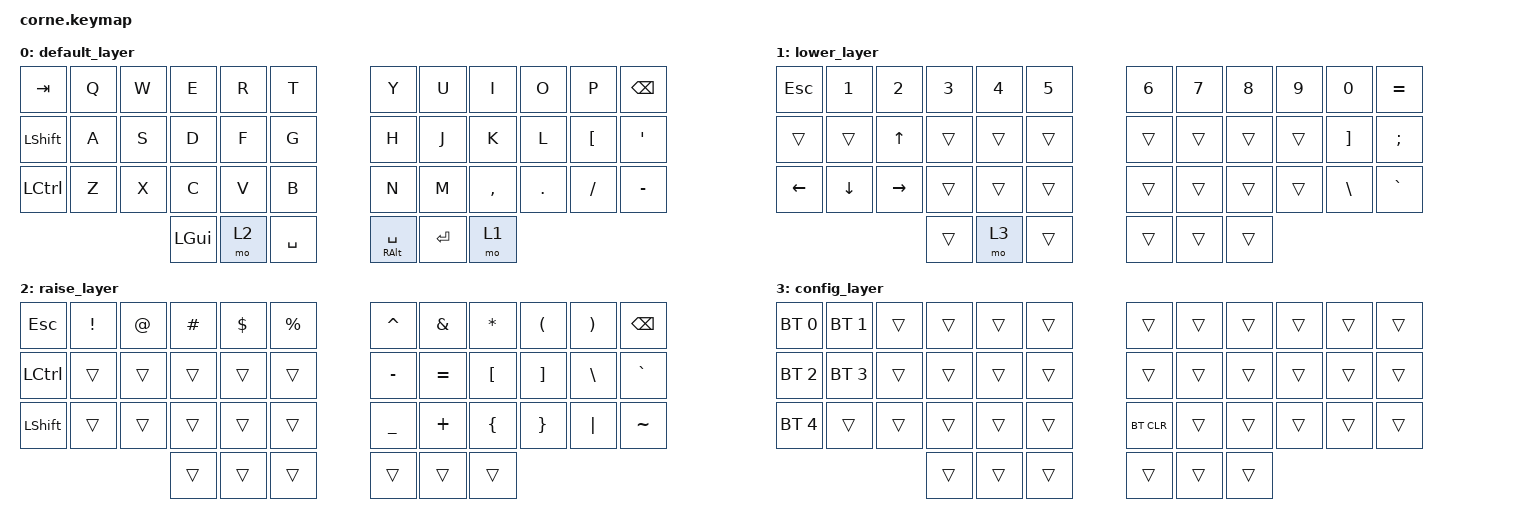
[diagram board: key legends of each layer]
/*
* Copyright (c) 2020 The ZMK Contributors
*
* SPDX-License-Identifier: MIT
*/

#include <behaviors.dtsi>
#include <dt-bindings/zmk/keys.h>
#include <dt-bindings/zmk/bt.h>

/ {
behaviors {
pht: positional_hold_tap {
compatible = "zmk,behavior-hold-tap";
#binding-cells = <2>;
flavor = "hold-preferred";
tapping-term-ms = <400>;
quick-tap-ms = <200>;
bindings = <&kp>, <&kp>;
hold-trigger-key-positions = <1>;    // <---[[the W key]]
};
};

keymap {
compatible = "zmk,keymap";

default_layer {
// -----------------------------------------------------------------------------------------
// |  TAB |  Q  |  W  |  E  |  R  |  T  |                                                            |  Y  |  U   |  I  |  O  |  P  | BKSP |
// | LSHFT|  A  |  S  |  D  |  F  |  G  |                                                            |  H  |  J   |  K  |  L  |  :  |  '   |
// | CTRL |  Z  |  X  |  C  |  V  |  B  |                                                            |  N  |  M   |  ,  |  .  |  /  |  -   |
//                    | GUI | mod2| SPC |                                                            | SPC | ENT  | mod1|
bindings = <
&kp TAB   &kp Q &kp W &kp E    &kp R &kp T                                                           &kp Y &kp U  &kp I     &kp O    &kp P    &kp BSPC
&kp LSHFT  &kp A &kp S &kp D    &kp F &kp G                                                           &kp H &kp J  &kp K     &kp L    &kp LBKT &kp SQT
&kp LCTRL  &kp Z &kp X &kp C    &kp V &kp B                                                           &kp N &kp M  &kp COMMA &kp DOT  &kp FSLH &kp MINUS                     
                      &kp LGUI &mo 2 &kp SPACE                                                       &pht RIGHT_ALT SPACE   &kp RET  &mo 1
>;
};
lower_layer {
// -----------------------------------------------------------------------------------------
// |  ESC |  1  |  2  |  3  |  4  |  5  |                                                            |  6  |  7  |  8  |  9  |  0  |   =  |
// |      |     | UP  |     |     |     |                                                            |     |     |     |     |  }  |   ;  |
// | LEFT |DOWN |RIGHT|     |     |     |                                                            |     |     |     |     |  \  |   `  |
//                    |     |mod3 |     |                                                            |     |     |     |
bindings = <
   
   &kp ESC    &kp N1       &kp  N2      &kp N3      &kp N4   &kp N5                                  &kp N6       &kp N7   &kp N8 &kp N9    &kp N0    &kp EQUAL
   &trans     &trans       &kp UP       &trans      &trans   &trans                                  &trans       &trans   &trans &trans    &kp RBKT  &kp SEMI
   &kp LEFT   &kp DOWN     &kp RIGHT    &trans      &trans   &trans                                  &trans       &trans   &trans &trans    &kp BSLH  &kp GRAVE
                                        &trans      &mo 3    &trans                                  &trans       &trans   &trans
>; 
};

raise_layer {
// -----------------------------------------------------------------------------------------
// |  ESC  |  !  |  @  |  #  |  $  |  %  |                                                            |  ^  |  &  |  *  |  (  |  )  | BKSP |
// | LCTRL |     |     |     |     |     |                                                            |  -  |  =  |  [  |  ]  |  \  |  `   |
// | LSHFT |     |     |     |     |     |                                                            |  _  |  +  |  {  |  }  | "|" |  ~   |
//                     |     |     |     |                                                            |     |     |     |
bindings = <
&kp ESC     &kp EXCL   &kp AT       &kp HASH    &kp DLLR   &kp PRCNT                                 &kp CARET &kp AMPS  &kp ASTRK &kp LPAR  &kp RPAR &kp BSPC
&kp LCTRL   &trans     &trans       &trans      &trans     &trans                                    &kp MINUS &kp EQUAL &kp LBKT  &kp RBKT  &kp BSLH &kp GRAVE
&kp LSHFT   &trans     &trans       &trans      &trans     &trans                                    &kp UNDER &kp PLUS  &kp LBRC  &kp RBRC  &kp PIPE &kp TILDE //&kp UNDER &kp PLUS  &kp LCURL &kp RCURL &kp PIPE &kp TILDE
                                    &trans      &trans     &trans                                    &trans    &trans    &trans
>;
};

config_layer {
// -----------------------------------------------------------------------------------------
// |  BT1 | BT2 |     |     |     |     |                                                             |     |     |     |     |     |      |
// |  BT3 | BT4 |     |     |     |     |                                                             |     |     |     |     |     |      |
// |  BT5 |     |     |     |     |     |                                                             |BTCLR|     |     |     |     |      |
//                    |     |     |     |                                                             |     |     |     |
bindings = <
&bt BT_SEL 0 &bt BT_SEL 1 &trans   &trans     &trans    &trans                                        &trans      &trans    &trans  &trans   &trans   &trans 
&bt BT_SEL 2 &bt BT_SEL 3 &trans   &trans     &trans    &trans                                        &trans      &trans    &trans  &trans   &trans   &trans
&bt BT_SEL 4 &trans       &trans   &trans     &trans    &trans                                        &bt BT_CLR  &trans    &trans  &trans   &trans   &trans
                                   &trans     &trans    &trans                                        &trans      &trans    &trans
>;
};


};
};

